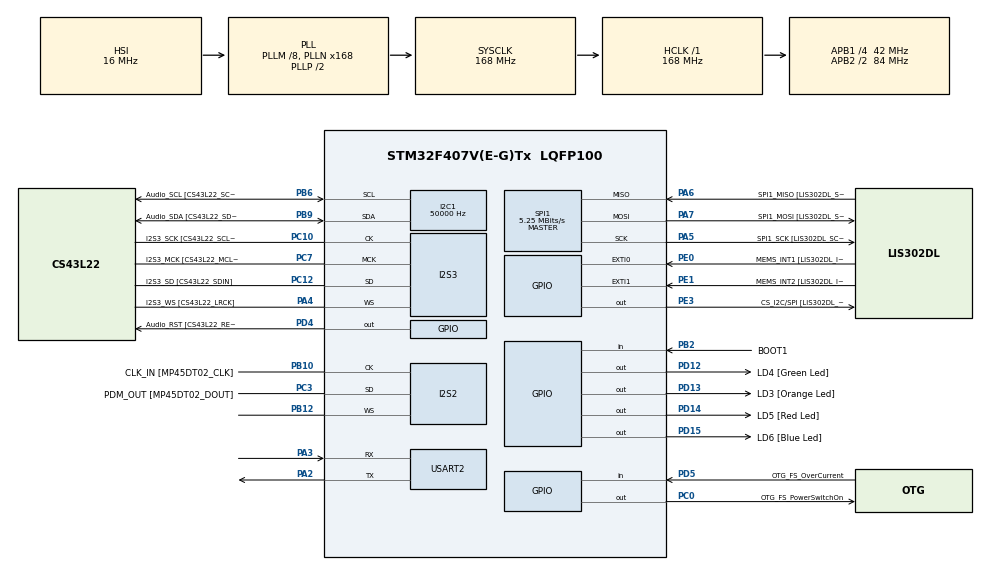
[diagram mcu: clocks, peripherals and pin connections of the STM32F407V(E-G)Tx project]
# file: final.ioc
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I2C1.ClockSpeed=50000
I2S2.AudioFreq=I2S_AUDIOFREQ_44K
I2S2.ErrorAudioFreq=0.8 %
I2S2.Mode=I2S_MODE_MASTER_RX
I2S2.RealAudioFreq=44.354 KHz
I2S2.Standard=I2S_STANDARD_PHILIPS
I2S3.AudioFreq=I2S_AUDIOFREQ_44K
I2S3.ErrorAudioFreq=-2.34 %
I2S3.RealAudioFreq=42.968 KHz
Mcu.Family=STM32F4
Mcu.Name=STM32F407V(E-G)Tx
Mcu.Package=LQFP100
NVIC.PriorityGroup=NVIC_PRIORITYGROUP_0
PA10.GPIO_Label=OTG_FS_ID
PA10.GPIO_Mode=GPIO_MODE_AF_PP
PA10.GPIO_PuPd=GPIO_NOPULL
PA10.GPIO_Speed=GPIO_SPEED_FREQ_LOW
PA10.Signal=USB_OTG_FS_ID
PA11.GPIO_Label=OTG_FS_DM
PA11.GPIO_Mode=GPIO_MODE_AF_PP
PA11.GPIO_PuPd=GPIO_NOPULL
PA11.GPIO_Speed=GPIO_SPEED_FREQ_LOW
PA11.Signal=USB_OTG_FS_DM
PA12.GPIO_Label=OTG_FS_DP
PA12.GPIO_Mode=GPIO_MODE_AF_PP
PA12.GPIO_PuPd=GPIO_NOPULL
PA12.GPIO_Speed=GPIO_SPEED_FREQ_LOW
PA12.Signal=USB_OTG_FS_DP
PA13.GPIO_Label=SWDIO
PA13.Signal=SYS_JTMS-SWDIO
PA14.GPIO_Label=SWCLK
PA14.Signal=SYS_JTCK-SWCLK
PA2.Mode=Asynchronous
PA2.Signal=USART2_TX
PA3.Mode=Asynchronous
PA3.Signal=USART2_RX
PA4.GPIO_Label=I2S3_WS [CS43L22_LRCK]
PA4.GPIO_Mode=GPIO_MODE_AF_PP
PA4.GPIO_PuPd=GPIO_NOPULL
PA4.GPIO_Speed=GPIO_SPEED_FREQ_LOW
PA4.Mode=Half_Duplex_Master
PA4.Signal=I2S3_WS
PA5.GPIO_Label=SPI1_SCK [LIS302DL_SCL/SPC]
PA5.GPIO_Mode=GPIO_MODE_AF_PP
PA5.GPIO_PuPd=GPIO_NOPULL
PA5.GPIO_Speed=GPIO_SPEED_FREQ_LOW
PA5.Mode=Full_Duplex_Master
PA5.Signal=SPI1_SCK
PA6.GPIO_Label=SPI1_MISO [LIS302DL_SDO]
PA6.GPIO_Mode=GPIO_MODE_AF_PP
PA6.GPIO_PuPd=GPIO_NOPULL
PA6.GPIO_Speed=GPIO_SPEED_FREQ_LOW
PA6.Mode=Full_Duplex_Master
PA6.Signal=SPI1_MISO
PA7.GPIO_Label=SPI1_MOSI [LIS302DL_SDA/SDI/SDO]
PA7.GPIO_Mode=GPIO_MODE_AF_PP
PA7.GPIO_PuPd=GPIO_NOPULL
PA7.GPIO_Speed=GPIO_SPEED_FREQ_LOW
PA7.Mode=Full_Duplex_Master
PA7.Signal=SPI1_MOSI
PA9.GPIO_Label=VBUS_FS
PA9.GPIO_Mode=GPIO_MODE_INPUT
PA9.GPIO_PuPd=GPIO_NOPULL
PA9.Signal=USB_OTG_FS_VBUS
PB10.GPIO_Label=CLK_IN [MP45DT02_CLK]
PB10.GPIO_Mode=GPIO_MODE_AF_PP
PB10.GPIO_PuPd=GPIO_NOPULL
PB10.GPIO_Speed=GPIO_SPEED_FREQ_LOW
PB10.Mode=Half_Duplex_Master
PB10.Signal=I2S2_CK
PB12.Mode=Half_Duplex_Master
PB12.Signal=I2S2_WS
PB2.GPIO_Label=BOOT1
PB2.GPIO_Mode=GPIO_MODE_INPUT
PB2.GPIO_PuPd=GPIO_NOPULL
PB2.Signal=GPIO_Input
PB3.GPIO_Label=SWO
PB3.Signal=SYS_JTDO-SWO
PB6.GPIO_Label=Audio_SCL [CS43L22_SCL]
PB6.GPIO_Mode=GPIO_MODE_AF_OD
PB6.GPIO_PuPd=GPIO_NOPULL
PB6.GPIO_Speed=GPIO_SPEED_FREQ_LOW
PB6.Mode=I2C
PB6.Signal=I2C1_SCL
PB9.GPIO_Label=Audio_SDA [CS43L22_SDA]
PB9.GPIO_Mode=GPIO_MODE_AF_OD
PB9.GPIO_PuPd=GPIO_NOPULL
PB9.GPIO_Speed=GPIO_SPEED_FREQ_LOW
PB9.Mode=I2C
PB9.Signal=I2C1_SDA
PC0.GPIO_Label=OTG_FS_PowerSwitchOn
PC0.GPIO_PuPd=GPIO_NOPULL
PC0.GPIO_Speed=GPIO_SPEED_FREQ_LOW
PC0.PinState=GPIO_PIN_SET
PC0.Signal=GPIO_Output
PC10.GPIO_Label=I2S3_SCK [CS43L22_SCLK]
PC10.GPIO_Mode=GPIO_MODE_AF_PP
PC10.GPIO_PuPd=GPIO_NOPULL
PC10.GPIO_Speed=GPIO_SPEED_FREQ_LOW
PC10.Mode=Half_Duplex_Master
PC10.Signal=I2S3_CK
PC12.GPIO_Label=I2S3_SD [CS43L22_SDIN]
PC12.GPIO_Mode=GPIO_MODE_AF_PP
PC12.GPIO_PuPd=GPIO_NOPULL
PC12.GPIO_Speed=GPIO_SPEED_FREQ_LOW
PC12.Mode=Half_Duplex_Master
PC12.Signal=I2S3_SD
PC14-OSC32_IN.GPIO_Label=PC14-OSC32_IN
PC14-OSC32_IN.Signal=RCC_OSC32_IN
PC15-OSC32_OUT.GPIO_Label=PC15-OSC32_OUT
PC15-OSC32_OUT.Signal=RCC_OSC32_OUT
PC3.GPIO_Label=PDM_OUT [MP45DT02_DOUT]
PC3.GPIO_Mode=GPIO_MODE_AF_PP
PC3.GPIO_PuPd=GPIO_NOPULL
PC3.GPIO_Speed=GPIO_SPEED_FREQ_LOW
PC3.Mode=Half_Duplex_Master
PC3.Signal=I2S2_SD
PC7.GPIO_Label=I2S3_MCK [CS43L22_MCLK]
PC7.GPIO_Mode=GPIO_MODE_AF_PP
PC7.GPIO_PuPd=GPIO_NOPULL
PC7.GPIO_Speed=GPIO_SPEED_FREQ_LOW
PC7.Mode=Master_Clock_Activated
PC7.Signal=I2S3_MCK
PD12.GPIO_Label=LD4 [Green Led]
PD12.GPIO_PuPd=GPIO_NOPULL
PD12.GPIO_Speed=GPIO_SPEED_FREQ_LOW
PD12.Signal=GPIO_Output
PD13.GPIO_Label=LD3 [Orange Led]
PD13.GPIO_PuPd=GPIO_NOPULL
PD13.GPIO_Speed=GPIO_SPEED_FREQ_LOW
PD13.Signal=GPIO_Output
PD14.GPIO_Label=LD5 [Red Led]
PD14.GPIO_PuPd=GPIO_NOPULL
PD14.GPIO_Speed=GPIO_SPEED_FREQ_LOW
PD14.Signal=GPIO_Output
PD15.GPIO_Label=LD6 [Blue Led]
PD15.GPIO_PuPd=GPIO_NOPULL
PD15.GPIO_Speed=GPIO_SPEED_FREQ_LOW
PD15.Signal=GPIO_Output
PD4.GPIO_Label=Audio_RST [CS43L22_RESET]
PD4.GPIO_PuPd=GPIO_NOPULL
PD4.GPIO_Speed=GPIO_SPEED_FREQ_LOW
PD4.Signal=GPIO_Output
PD5.GPIO_Label=OTG_FS_OverCurrent
PD5.GPIO_Mode=GPIO_MODE_INPUT
PD5.GPIO_PuPd=GPIO_NOPULL
PD5.Signal=GPIO_Input
PE0.GPIO_Label=MEMS_INT1 [LIS302DL_INT1]
PE0.Signal=GPXTI0
PE1.GPIO_Label=MEMS_INT2 [LIS302DL_INT2]
PE1.GPIO_ModeDefaultEXTI=GPIO_MODE_EVT_RISING
PE1.GPIO_PuPd=GPIO_NOPULL
PE1.Signal=GPXTI1
PE3.GPIO_Label=CS_I2C/SPI [LIS302DL_CS_I2C/SPI]
PE3.GPIO_PuPd=GPIO_NOPULL
PE3.GPIO_Speed=GPIO_SPEED_FREQ_LOW
PE3.Signal=GPIO_Output
PH0-OSC_IN.GPIO_Label=PH0-OSC_IN
PH0-OSC_IN.Signal=RCC_OSC_IN
PH1-OSC_OUT.GPIO_Label=PH1-OSC_OUT
PH1-OSC_OUT.Signal=RCC_OSC_OUT
ProjectManager.HeapSize=0x200
ProjectManager.StackSize=0x400
ProjectManager.TargetToolchain=SW4STM32
RCC.48MHZClocksFreq_Value=48000000
RCC.AHBFreq_Value=168000000
RCC.APB1CLKDivider=RCC_HCLK_DIV4
RCC.APB1Freq_Value=42000000
RCC.APB1TimFreq_Value=84000000
RCC.APB2CLKDivider=RCC_HCLK_DIV2
RCC.APB2Freq_Value=84000000
RCC.APB2TimFreq_Value=168000000
RCC.CortexFreq_Value=168000000
RCC.HCLKFreq_Value=168000000
RCC.HSE_VALUE=8000000
RCC.HSI_VALUE=16000000
RCC.LSE_VALUE=32768
RCC.PLLI2SN=88
RCC.PLLI2SR=4
RCC.PLLM=8
RCC.PLLN=168
RCC.PLLQ=7
RCC.SYSCLKFreq_VALUE=168000000
RCC.SYSCLKSource=RCC_SYSCLKSOURCE_PLLCLK
RCC.VCOOutputFreq_Value=336000000
SPI1.BaudRatePrescaler=SPI_BAUDRATEPRESCALER_16
SPI1.CalculateBaudRate=5.25 MBits/s
SPI1.Mode=SPI_MODE_MASTER
TIM1.Period=99
TIM1.Prescaler=1680
VP_TIM1_VS_ClockSourceINT.Mode=Internal
board=STM32F407G-DISC1

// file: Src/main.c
/**
  ******************************************************************************
  * File Name          : main.c
  * Description        : Main program body
  ******************************************************************************
  *
  * COPYRIGHT(c) 2016 STMicroelectronics
  *
  * Redistribution and use in source and binary forms, with or without modification,
  * are permitted provided that the following conditions are met:
  *   1. Redistributions of source code must retain the above copyright notice,
  *      this list of conditions and the following disclaimer.
  *   2. Redistributions in binary form must reproduce the above copyright notice,
  *      this list of conditions and the following disclaimer in the documentation
  *      and/or other materials provided with the distribution.
  *   3. Neither the name of STMicroelectronics nor the names of its contributors
  *      may be used to endorse or promote products derived from this software
  *      without specific prior written permission.
  *
  * THIS SOFTWARE IS PROVIDED BY THE COPYRIGHT HOLDERS AND CONTRIBUTORS "AS IS"
  * AND ANY EXPRESS OR IMPLIED WARRANTIES, INCLUDING, BUT NOT LIMITED TO, THE
  * IMPLIED WARRANTIES OF MERCHANTABILITY AND FITNESS FOR A PARTICULAR PURPOSE ARE
  * DISCLAIMED. IN NO EVENT SHALL THE COPYRIGHT HOLDER OR CONTRIBUTORS BE LIABLE
  * FOR ANY DIRECT, INDIRECT, INCIDENTAL, SPECIAL, EXEMPLARY, OR CONSEQUENTIAL
  * DAMAGES (INCLUDING, BUT NOT LIMITED TO, PROCUREMENT OF SUBSTITUTE GOODS OR
  * SERVICES; LOSS OF USE, DATA, OR PROFITS; OR BUSINESS INTERRUPTION) HOWEVER
  * CAUSED AND ON ANY THEORY OF LIABILITY, WHETHER IN CONTRACT, STRICT LIABILITY,
  * OR TORT (INCLUDING NEGLIGENCE OR OTHERWISE) ARISING IN ANY WAY OUT OF THE USE
  * OF THIS SOFTWARE, EVEN IF ADVISED OF THE POSSIBILITY OF SUCH DAMAGE.
  *
  ******************************************************************************
  */
#include "main.h"
#include "stm32f4xx_hal.h"

I2C_HandleTypeDef hi2c1;

I2S_HandleTypeDef hi2s2;
I2S_HandleTypeDef hi2s3;

SPI_HandleTypeDef hspi1;

TIM_HandleTypeDef htim1;

UART_HandleTypeDef huart2;

/* USER CODE BEGIN PV */
/* Private variables ---------------------------------------------------------*/

/* USER CODE END PV */

void SystemClock_Config(void);
void Error_Handler(void);
static void MX_GPIO_Init(void);
static void MX_I2C1_Init(void);
static void MX_I2S2_Init(void);
static void MX_I2S3_Init(void);
static void MX_SPI1_Init(void);
static void MX_TIM1_Init(void);
static void MX_USART2_UART_Init(void);

/* USER CODE BEGIN PFP */
/* Private function prototypes -----------------------------------------------*/
#define PDM_BUFFER_SIZE 16
/* USER CODE END PFP */

/* USER CODE BEGIN 0 */

void Sound_Random();
uint8_t Accelerometer_Get_Direction();

// ###################
// #                 #
// #   Game Logic    #
// #                 #
// ###################

uint8_t BEFORE_INIT = 0;
uint8_t INIT = 1;
uint8_t WAITING = 2;
uint8_t PLAY_INTRODUCE = 3;
uint8_t PLAY = 4;
uint8_t DIE = 5;

uint8_t LEFT = 0;
uint8_t RIGHT = 1;
uint8_t UP = 2;
uint8_t DOWN = 3;

uint8_t DISPLAY_INIT = 0;
uint8_t DISPLAY_WAITING = 1;
uint8_t DISPLAY_DIE = 6;
uint8_t DISPLAY_YOUR_TURN = 7;
uint8_t DISPLAY_GREAT = 8;

uint16_t i, j, k;
uint8_t gState = 0;

uint8_t gStartMsg[9][18] = {
	"+--------------+\r\n",
	"|              |\r\n",
	"|   Remember   |\r\n",
	"|     Game     |\r\n",
	"|              |\r\n",
	"|==============|\r\n",
	"|    Snap To   |\r\n",
	"|     Start    |\r\n",
	"+--------------+\r\n"
};

uint8_t gWaitMsg[9][18] = {
	"+--------------+\r\n",
	"|              |\r\n",
	"|  > Remember  |\r\n",
	"|  The Light   |\r\n",
	"|  > Rotate    |\r\n",
	"| To Following |\r\n",
	"|    Light     |\r\n",
	"|              |\r\n",
	"+--------------+\r\n"
};

uint8_t gDieMsg[9][18] = {
	"+--------------+\r\n",
	"|              |\r\n",
	"|      You     |\r\n",
	"|     Lose     |\r\n",
	"|==============|\r\n",
	"|    Snap To   |\r\n",
	"|    Restart   |\r\n",
	"+--------------+\r\n"
};

uint8_t gYourTurnMsg[9][18] = {
	"+--------------+\r\n",
	"|              |\r\n",
	"|    ++++++    |\r\n",
	"|     Your     |\r\n",
	"|     Turn     |\r\n",
	"|    ++++++    |\r\n",
	"|              |\r\n",
	"|              |\r\n",
	"+--------------+\r\n"
};

uint8_t gGreatMsg[9][18] = {
	"+--------------+\r\n",
	"|              |\r\n",
	"|    ++++++    |\r\n",
	"|    Great     |\r\n",
	"|  Keep Going  |\r\n",
	"|    ++++++    |\r\n",
	"|              |\r\n",
	"|              |\r\n",
	"+--------------+\r\n"
};

uint32_t gPrevTime;
uint32_t gCurTime;

uint8_t gArrows[100];
uint32_t gArrowLength;

uint32_t random() {
	return HAL_GetTick();
}

void Game_Display(uint8_t type) {
	uint8_t *S = gStartMsg;

	if(type == DISPLAY_INIT) S = gStartMsg;
	else if(type == DISPLAY_WAITING) S = gWaitMsg;
	else if(type == DISPLAY_DIE) S = gDieMsg;
	else if(type == DISPLAY_YOUR_TURN) S = gYourTurnMsg;
	else if(type == DISPLAY_GREAT) S = gGreatMsg;

	if(type == DISPLAY_DIE) {
		uint8_t buffer[20];
		sprintf(buffer, "You scores : %d\r\n", gArrowLength - 1);
		HAL_UART_Transmit(&huart2, S, 8 * 18, 100);
		HAL_UART_Transmit(&huart2, (uint8_t*)"\r\n", 2, 100);
		HAL_UART_Transmit(&huart2, buffer, strlen(buffer), 100);
	} else {
		HAL_UART_Transmit(&huart2, S, 9 * 18, 100);
		HAL_UART_Transmit(&huart2, (uint8_t*)"\r\n", 2, 100);
	}
}

uint32_t Game_Random() {
	return HAL_GetTick() / 10;
}

void Game_Init() {
	gArrowLength = 0;
}

void Game_Show_Light_Direction(uint8_t direction, uint16_t delay) {
	uint16_t pinNum = 0;

	switch(direction) {
	case 0 : pinNum = GPIO_PIN_12; break; // LEFT
	case 1 : pinNum = GPIO_PIN_14; break; // RIGHT
	case 2 : pinNum = GPIO_PIN_13; break; // UP
	case 3 : pinNum = GPIO_PIN_15; break; // DOWN
	}

	HAL_GPIO_WritePin(GPIOD, pinNum, GPIO_PIN_SET);
	HAL_Delay(delay);
	HAL_GPIO_WritePin(GPIOD, pinNum, GPIO_PIN_RESET);
}

void Game_Play_Introduce() {
	gArrows[gArrowLength] = Game_Random() % 4;
	gArrowLength++;

	for(i=0; i<gArrowLength; i++) {
		Sound_Random();
		Game_Show_Light_Direction(gArrows[i], 500);

		HAL_Delay(200);
	}
}

uint8_t Game_Check() {
	for(i=0;i <gArrowLength; i++) {
		while(1) {
			uint8_t userDir = Accelerometer_Get_Direction();
			if(userDir == 5) continue;
			Game_Show_Light_Direction(userDir, 500);
			if(userDir == gArrows[i]) {
				break;
			} else {
				return 0;
			}
		}
	}

	return 1;
}

// ###################
// #                 #
// #     Speaker     #
// #                 #
// ###################

uint16_t sTemp[100];
uint8_t sSendData[PDM_BUFFER_SIZE];

uint16_t pdm_buffer[PDM_BUFFER_SIZE];

int Transmit_Audio_Data(uint8_t address, uint8_t data) {
	sSendData[0] = address;
	sSendData[1] = data;
	return HAL_I2C_Master_Transmit(&hi2c1, 0x94, sSendData, 2, 50);
}

void Sound_Play(uint8_t chord) {

	if (chord == 0x00)
		return;

	Transmit_Audio_Data(0x1E, 0x20);
	Transmit_Audio_Data(0x1C, chord);
	Transmit_Audio_Data(0x1E, 0xE0);

	int i;
	for (i = 0; i < 100; i++)
		HAL_I2S_Transmit(&hi2s3, sTemp, 100, 10);
}

void Sound_Random() {
	switch(random() % 8) {
	case 0 : Sound_Play(0x1A); break;
	case 1 : Sound_Play(0x2A); break;
	case 2 : Sound_Play(0x3A); break;
	case 3 : Sound_Play(0x4A); break;
	case 4 : Sound_Play(0x5A); break;
	case 5 : Sound_Play(0x6A); break;
	case 6 : Sound_Play(0x7A); break;
	case 7 : Sound_Play(0x8A); break;
	}
}

void Audio_Init() {

	int i;
	for (i = 0; i < 100; i++)
		sTemp[i] = 0;

	HAL_GPIO_WritePin(GPIOD, GPIO_PIN_4, 0);
	HAL_Delay(500);
	HAL_GPIO_WritePin(GPIOD, GPIO_PIN_4, 1); //Reset is set Up (Power CS43L22)
	HAL_Delay(500);

	Transmit_Audio_Data(0x00, 0x99);
	Transmit_Audio_Data(0x47, 0x80);
	Transmit_Audio_Data(0x32, 0x80);
	Transmit_Audio_Data(0x32, 0x00);
	Transmit_Audio_Data(0x00, 0x00);
	Transmit_Audio_Data(0x1E, 0xC0);
	Transmit_Audio_Data(0x02, 0x9E);

	// Adjust Volume
	//Transmit_Audio_Data(0x1D, 0x0F);

}

// ###################
// #                 #
// #  Accelerometer  #
// #                 #
// ###################

void Accelerometer_Init() {
	uint8_t aAddress = 0x20;
	uint8_t aData = 0x67;

	HAL_GPIO_WritePin(GPIOE, GPIO_PIN_3, GPIO_PIN_RESET);
	HAL_SPI_Transmit(&hspi1, &aAddress, 1, 50);
	HAL_SPI_Transmit(&hspi1, &aData, 1, 50);
	HAL_GPIO_WritePin(GPIOE, GPIO_PIN_3, GPIO_PIN_SET);
}

uint8_t Accelerometer_Get_Direction() {
	uint8_t aX, aY, aZ;
	uint8_t aAddress;

	int rotateThreshold = 20;

	aAddress = 0x29 | 0x80;
	HAL_GPIO_WritePin(GPIOE,GPIO_PIN_3,GPIO_PIN_RESET);
	HAL_SPI_Transmit(&hspi1, &aAddress, 1, 50);
	HAL_SPI_Receive(&hspi1, &aX, 1, 50);
	HAL_GPIO_WritePin(GPIOE,GPIO_PIN_3,GPIO_PIN_SET);

	aAddress = 0x2B | 0x80;
	HAL_GPIO_WritePin(GPIOE,GPIO_PIN_3,GPIO_PIN_RESET);
	HAL_SPI_Transmit(&hspi1, &aAddress, 1, 50);
	HAL_SPI_Receive(&hspi1, &aY, 1, 50);
	HAL_GPIO_WritePin(GPIOE,GPIO_PIN_3,GPIO_PIN_SET);

	aAddress = 0x2C | 0x80;
	HAL_GPIO_WritePin(GPIOE,GPIO_PIN_3,GPIO_PIN_RESET);
	HAL_SPI_Transmit(&hspi1, &aAddress, 1, 50);
	HAL_SPI_Receive(&hspi1, &aZ, 1, 50);
	HAL_GPIO_WritePin(GPIOE,GPIO_PIN_3,GPIO_PIN_SET);

	if (aX < 255 - rotateThreshold && aX > 128) {
		// Left On
		return LEFT;
	} else if (aX <= 128 && aX > rotateThreshold) {
		// Right On
		return RIGHT;
	}

	if (aY > rotateThreshold && aY < 128) {
		// Up On
		return UP;
	} else if (aY >= 128 && aY < 255 - rotateThreshold) {
		// Down On
		return DOWN;
	}

	return 5;
}

// ###################
// #                 #
// #    Microphone   #
// #                 #
// ###################

int Is_Loud() {

	uint16_t bit_position;

	HAL_I2S_Receive(&hi2s2, pdm_buffer, PDM_BUFFER_SIZE, 100);

	uint16_t pdm_count = 0;

	int i, j;
	for (i = 0; i < PDM_BUFFER_SIZE; i++) {
		bit_position = (1 << 15);
		for (j = 0; j < 16; j++) {
			if (bit_position & pdm_buffer[i]) {
				pdm_count++;
			}
			bit_position >>= 1;
		}
	}

	if (pdm_count > 140) {
		return 1;
	} else {
		return 0;
	}
}
/* USER CODE END 0 */

int main(void)
{

  /* MCU Configuration----------------------------------------------------------*/

  /* Reset of all peripherals, Initializes the Flash interface and the Systick. */
  HAL_Init();

  /* Configure the system clock */
  SystemClock_Config();

  /* Initialize all configured peripherals */
  MX_GPIO_Init();
  MX_I2C1_Init();
  MX_I2S2_Init();
  MX_I2S3_Init();
  MX_SPI1_Init();
  MX_TIM1_Init();
  MX_USART2_UART_Init();

  /* USER CODE BEGIN 2 */
	Audio_Init();
	Accelerometer_Init();

	gPrevTime = HAL_GetTick();
	gState = BEFORE_INIT;

  /* USER CODE END 2 */

  /* Infinite loop */
	while (1) {

  /* USER CODE BEGIN 3 */

		if(gState == BEFORE_INIT) {
			if(Is_Loud()) {
				HAL_GPIO_WritePin(GPIOD, GPIO_PIN_12, GPIO_PIN_RESET);
				HAL_Delay(500);
				gState = INIT;
				Game_Display(DISPLAY_INIT);
			} else {
				HAL_GPIO_WritePin(GPIOD, GPIO_PIN_12, GPIO_PIN_SET);
			}
		} else if(gState == INIT) {
			gCurTime = HAL_GetTick();
			if(Is_Loud()) {
				gState = WAITING;
				gCurTime = 0;
				Game_Init();
				Game_Display(DISPLAY_WAITING);
			} else {
				if(gCurTime - gPrevTime > 500) {
					HAL_GPIO_TogglePin(GPIOD, GPIO_PIN_12);
					HAL_GPIO_TogglePin(GPIOD, GPIO_PIN_13);
					HAL_GPIO_TogglePin(GPIOD, GPIO_PIN_14);
					HAL_GPIO_TogglePin(GPIOD, GPIO_PIN_15);
					gPrevTime = gCurTime;
				}
				Sound_Random();
			}
		} else if(gState == WAITING) {
			HAL_GPIO_WritePin(GPIOD, GPIO_PIN_12, GPIO_PIN_RESET);
			HAL_GPIO_WritePin(GPIOD, GPIO_PIN_13, GPIO_PIN_RESET);
			HAL_GPIO_WritePin(GPIOD, GPIO_PIN_14, GPIO_PIN_RESET);
			HAL_GPIO_WritePin(GPIOD, GPIO_PIN_15, GPIO_PIN_RESET);
			for(i=0; i<2; i++) {
				for(j=0; j<4; j++) {
					HAL_GPIO_TogglePin(GPIOD, GPIO_PIN_12 << j);
					switch(j) {
					case 0 : Sound_Play(0x1A); break;
					case 1 : Sound_Play(0x2A); break;
					case 2 : Sound_Play(0x3A); break;
					case 3 : Sound_Play(0x4A); break;
					}
					HAL_Delay(20);
				}
			}
			HAL_GPIO_WritePin(GPIOD, GPIO_PIN_12, GPIO_PIN_RESET);
			HAL_GPIO_WritePin(GPIOD, GPIO_PIN_13, GPIO_PIN_RESET);
			HAL_GPIO_WritePin(GPIOD, GPIO_PIN_14, GPIO_PIN_RESET);
			HAL_GPIO_WritePin(GPIOD, GPIO_PIN_15, GPIO_PIN_RESET);
			HAL_Delay(750);
			gState = PLAY_INTRODUCE;
		} else if(gState == PLAY_INTRODUCE) {
			Game_Play_Introduce();
			gState = PLAY;
			Game_Display(DISPLAY_YOUR_TURN);
		} else if(gState == PLAY) {
			if(Game_Check()) {
				Game_Display(DISPLAY_GREAT);
				HAL_Delay(500);
				HAL_GPIO_WritePin(GPIOD, GPIO_PIN_12, GPIO_PIN_SET);
				HAL_GPIO_WritePin(GPIOD, GPIO_PIN_13, GPIO_PIN_SET);
				HAL_GPIO_WritePin(GPIOD, GPIO_PIN_14, GPIO_PIN_SET);
				HAL_GPIO_WritePin(GPIOD, GPIO_PIN_15, GPIO_PIN_SET);
				Sound_Play(0x3A);
				HAL_Delay(60);
				Sound_Play(0x4A);
				HAL_Delay(60);
				Sound_Play(0x5A);
				HAL_GPIO_WritePin(GPIOD, GPIO_PIN_12, GPIO_PIN_RESET);
				HAL_GPIO_WritePin(GPIOD, GPIO_PIN_13, GPIO_PIN_RESET);
				HAL_GPIO_WritePin(GPIOD, GPIO_PIN_14, GPIO_PIN_RESET);
				HAL_GPIO_WritePin(GPIOD, GPIO_PIN_15, GPIO_PIN_RESET);
				HAL_Delay(500);
				gState = PLAY_INTRODUCE;
			} else {
				Game_Display(DISPLAY_DIE);
				for(i=0; i<10; i++) {
					Sound_Play(0x5A);
				}
				HAL_Delay(200);
				gState = DIE;
			}

		} else if(gState == DIE) {
			if(Is_Loud()) {
				gState = WAITING;
				Game_Init();
				Game_Display(DISPLAY_WAITING);
			}
		}

	}
  /* USER CODE END 3 */

}

/** System Clock Configuration
*/
void SystemClock_Config(void)
{

  RCC_OscInitTypeDef RCC_OscInitStruct;
  RCC_ClkInitTypeDef RCC_ClkInitStruct;
  RCC_PeriphCLKInitTypeDef PeriphClkInitStruct;

    /**Configure the main internal regulator output voltage
    */
  __HAL_RCC_PWR_CLK_ENABLE();

  __HAL_PWR_VOLTAGESCALING_CONFIG(PWR_REGULATOR_VOLTAGE_SCALE1);

    /**Initializes the CPU, AHB and APB busses clocks
    */
  RCC_OscInitStruct.OscillatorType = RCC_OSCILLATORTYPE_HSI;
  RCC_OscInitStruct.HSIState = RCC_HSI_ON;
  RCC_OscInitStruct.HSICalibrationValue = 16;
  RCC_OscInitStruct.PLL.PLLState = RCC_PLL_ON;
  RCC_OscInitStruct.PLL.PLLSource = RCC_PLLSOURCE_HSI;
  RCC_OscInitStruct.PLL.PLLM = 8;
  RCC_OscInitStruct.PLL.PLLN = 168;
  RCC_OscInitStruct.PLL.PLLP = RCC_PLLP_DIV2;
  RCC_OscInitStruct.PLL.PLLQ = 7;
  if (HAL_RCC_OscConfig(&RCC_OscInitStruct) != HAL_OK)
  {
    Error_Handler();
  }

    /**Initializes the CPU, AHB and APB busses clocks
    */
  RCC_ClkInitStruct.ClockType = RCC_CLOCKTYPE_HCLK|RCC_CLOCKTYPE_SYSCLK
                              |RCC_CLOCKTYPE_PCLK1|RCC_CLOCKTYPE_PCLK2;
  RCC_ClkInitStruct.SYSCLKSource = RCC_SYSCLKSOURCE_PLLCLK;
  RCC_ClkInitStruct.AHBCLKDivider = RCC_SYSCLK_DIV1;
  RCC_ClkInitStruct.APB1CLKDivider = RCC_HCLK_DIV4;
  RCC_ClkInitStruct.APB2CLKDivider = RCC_HCLK_DIV2;

  if (HAL_RCC_ClockConfig(&RCC_ClkInitStruct, FLASH_LATENCY_5) != HAL_OK)
  {
    Error_Handler();
  }

  PeriphClkInitStruct.PeriphClockSelection = RCC_PERIPHCLK_I2S;
  PeriphClkInitStruct.PLLI2S.PLLI2SN = 88;
  PeriphClkInitStruct.PLLI2S.PLLI2SR = 4;
  if (HAL_RCCEx_PeriphCLKConfig(&PeriphClkInitStruct) != HAL_OK)
  {
    Error_Handler();
  }

    /**Configure the Systick interrupt time
    */
  HAL_SYSTICK_Config(HAL_RCC_GetHCLKFreq()/1000);

    /**Configure the Systick
    */
  HAL_SYSTICK_CLKSourceConfig(SYSTICK_CLKSOURCE_HCLK);

  /* SysTick_IRQn interrupt configuration */
  HAL_NVIC_SetPriority(SysTick_IRQn, 0, 0);
}

/* I2C1 init function */
static void MX_I2C1_Init(void)
{

  hi2c1.Instance = I2C1;
  hi2c1.Init.ClockSpeed = 50000;
  hi2c1.Init.DutyCycle = I2C_DUTYCYCLE_2;
  hi2c1.Init.OwnAddress1 = 0;
  hi2c1.Init.AddressingMode = I2C_ADDRESSINGMODE_7BIT;
  hi2c1.Init.DualAddressMode = I2C_DUALADDRESS_DISABLE;
  hi2c1.Init.OwnAddress2 = 0;
  hi2c1.Init.GeneralCallMode = I2C_GENERALCALL_DISABLE;
  hi2c1.Init.NoStretchMode = I2C_NOSTRETCH_DISABLE;
  if (HAL_I2C_Init(&hi2c1) != HAL_OK)
  {
    Error_Handler();
  }

}

/* I2S2 init function */
static void MX_I2S2_Init(void)
{

  hi2s2.Instance = SPI2;
  hi2s2.Init.Mode = I2S_MODE_MASTER_RX;
  hi2s2.Init.Standard = I2S_STANDARD_PHILIPS;
  hi2s2.Init.DataFormat = I2S_DATAFORMAT_16B;
  hi2s2.Init.MCLKOutput = I2S_MCLKOUTPUT_DISABLE;
  hi2s2.Init.AudioFreq = I2S_AUDIOFREQ_44K;
  hi2s2.Init.CPOL = I2S_CPOL_LOW;
  hi2s2.Init.ClockSource = I2S_CLOCK_PLL;
  hi2s2.Init.FullDuplexMode = I2S_FULLDUPLEXMODE_DISABLE;
  if (HAL_I2S_Init(&hi2s2) != HAL_OK)
  {
    Error_Handler();
  }

}

/* I2S3 init function */
static void MX_I2S3_Init(void)
{

  hi2s3.Instance = SPI3;
  hi2s3.Init.Mode = I2S_MODE_MASTER_TX;
  hi2s3.Init.Standard = I2S_STANDARD_PHILIPS;
  hi2s3.Init.DataFormat = I2S_DATAFORMAT_16B;
  hi2s3.Init.MCLKOutput = I2S_MCLKOUTPUT_ENABLE;
  hi2s3.Init.AudioFreq = I2S_AUDIOFREQ_44K;
  hi2s3.Init.CPOL = I2S_CPOL_LOW;
  hi2s3.Init.ClockSource = I2S_CLOCK_PLL;
  hi2s3.Init.FullDuplexMode = I2S_FULLDUPLEXMODE_DISABLE;
  if (HAL_I2S_Init(&hi2s3) != HAL_OK)
  {
    Error_Handler();
  }

}

/* SPI1 init function */
static void MX_SPI1_Init(void)
{

  hspi1.Instance = SPI1;
  hspi1.Init.Mode = SPI_MODE_MASTER;
  hspi1.Init.Direction = SPI_DIRECTION_2LINES;
  hspi1.Init.DataSize = SPI_DATASIZE_8BIT;
  hspi1.Init.CLKPolarity = SPI_POLARITY_LOW;
  hspi1.Init.CLKPhase = SPI_PHASE_1EDGE;
  hspi1.Init.NSS = SPI_NSS_SOFT;
  hspi1.Init.BaudRatePrescaler = SPI_BAUDRATEPRESCALER_16;
  hspi1.Init.FirstBit = SPI_FIRSTBIT_MSB;
  hspi1.Init.TIMode = SPI_TIMODE_DISABLE;
  hspi1.Init.CRCCalculation = SPI_CRCCALCULATION_DISABLE;
  hspi1.Init.CRCPolynomial = 10;
  if (HAL_SPI_Init(&hspi1) != HAL_OK)
  {
    Error_Handler();
  }

}

/* TIM1 init function */
static void MX_TIM1_Init(void)
{

  TIM_ClockConfigTypeDef sClockSourceConfig;
  TIM_MasterConfigTypeDef sMasterConfig;

  htim1.Instance = TIM1;
  htim1.Init.Prescaler = 1680;
  htim1.Init.CounterMode = TIM_COUNTERMODE_UP;
  htim1.Init.Period = 99;
  htim1.Init.ClockDivision = TIM_CLOCKDIVISION_DIV1;
  htim1.Init.RepetitionCounter = 0;
  if (HAL_TIM_Base_Init(&htim1) != HAL_OK)
  {
    Error_Handler();
  }

  sClockSourceConfig.ClockSource = TIM_CLOCKSOURCE_INTERNAL;
  if (HAL_TIM_ConfigClockSource(&htim1, &sClockSourceConfig) != HAL_OK)
  {
    Error_Handler();
  }

  sMasterConfig.MasterOutputTrigger = TIM_TRGO_RESET;
  sMasterConfig.MasterSlaveMode = TIM_MASTERSLAVEMODE_DISABLE;
  if (HAL_TIMEx_MasterConfigSynchronization(&htim1, &sMasterConfig) != HAL_OK)
  {
    Error_Handler();
  }

}

/* USART2 init function */
static void MX_USART2_UART_Init(void)
{

  huart2.Instance = USART2;
  huart2.Init.BaudRate = 115200;
  huart2.Init.WordLength = UART_WORDLENGTH_8B;
  huart2.Init.StopBits = UART_STOPBITS_1;
  huart2.Init.Parity = UART_PARITY_NONE;
  huart2.Init.Mode = UART_MODE_TX_RX;
  huart2.Init.HwFlowCtl = UART_HWCONTROL_NONE;
  huart2.Init.OverSampling = UART_OVERSAMPLING_16;
  if (HAL_UART_Init(&huart2) != HAL_OK)
  {
    Error_Handler();
  }

}

/** Configure pins as
        * Analog
        * Input
        * Output
        * EVENT_OUT
        * EXTI
     PA9   ------> USB_OTG_FS_VBUS
     PA10   ------> USB_OTG_FS_ID
     PA11   ------> USB_OTG_FS_DM
     PA12   ------> USB_OTG_FS_DP
*/
static void MX_GPIO_Init(void)
{

  GPIO_InitTypeDef GPIO_InitStruct;

  /* GPIO Ports Clock Enable */
  __HAL_RCC_GPIOE_CLK_ENABLE();
  __HAL_RCC_GPIOC_CLK_ENABLE();
  __HAL_RCC_GPIOH_CLK_ENABLE();
  __HAL_RCC_GPIOA_CLK_ENABLE();
  __HAL_RCC_GPIOB_CLK_ENABLE();
  __HAL_RCC_GPIOD_CLK_ENABLE();

  /*Configure GPIO pin Output Level */
  HAL_GPIO_WritePin(CS_I2C_SPI_GPIO_Port, CS_I2C_SPI_Pin, GPIO_PIN_RESET);

  /*Configure GPIO pin Output Level */
  HAL_GPIO_WritePin(OTG_FS_PowerSwitchOn_GPIO_Port, OTG_FS_PowerSwitchOn_Pin, GPIO_PIN_SET);

  /*Configure GPIO pin Output Level */
  HAL_GPIO_WritePin(GPIOD, LD4_Pin|LD3_Pin|LD5_Pin|LD6_Pin
                          |Audio_RST_Pin, GPIO_PIN_RESET);

  /*Configure GPIO pin : CS_I2C_SPI_Pin */
  GPIO_InitStruct.Pin = CS_I2C_SPI_Pin;
  GPIO_InitStruct.Mode = GPIO_MODE_OUTPUT_PP;
  GPIO_InitStruct.Pull = GPIO_NOPULL;
  GPIO_InitStruct.Speed = GPIO_SPEED_FREQ_LOW;
  HAL_GPIO_Init(CS_I2C_SPI_GPIO_Port, &GPIO_InitStruct);

  /*Configure GPIO pin : OTG_FS_PowerSwitchOn_Pin */
  GPIO_InitStruct.Pin = OTG_FS_PowerSwitchOn_Pin;
  GPIO_InitStruct.Mode = GPIO_MODE_OUTPUT_PP;
  GPIO_InitStruct.Pull = GPIO_NOPULL;
  GPIO_InitStruct.Speed = GPIO_SPEED_FREQ_LOW;
  HAL_GPIO_Init(OTG_FS_PowerSwitchOn_GPIO_Port, &GPIO_InitStruct);

  /*Configure GPIO pin : BOOT1_Pin */
  GPIO_InitStruct.Pin = BOOT1_Pin;
  GPIO_InitStruct.Mode = GPIO_MODE_INPUT;
  GPIO_InitStruct.Pull = GPIO_NOPULL;
  HAL_GPIO_Init(BOOT1_GPIO_Port, &GPIO_InitStruct);

  /*Configure GPIO pins : LD4_Pin LD3_Pin LD5_Pin LD6_Pin
                           Audio_RST_Pin */
  GPIO_InitStruct.Pin = LD4_Pin|LD3_Pin|LD5_Pin|LD6_Pin
                          |Audio_RST_Pin;
  GPIO_InitStruct.Mode = GPIO_MODE_OUTPUT_PP;
  GPIO_InitStruct.Pull = GPIO_NOPULL;
  GPIO_InitStruct.Speed = GPIO_SPEED_FREQ_LOW;
  HAL_GPIO_Init(GPIOD, &GPIO_InitStruct);

  /*Configure GPIO pin : VBUS_FS_Pin */
  GPIO_InitStruct.Pin = VBUS_FS_Pin;
  GPIO_InitStruct.Mode = GPIO_MODE_INPUT;
  GPIO_InitStruct.Pull = GPIO_NOPULL;
  HAL_GPIO_Init(VBUS_FS_GPIO_Port, &GPIO_InitStruct);

  /*Configure GPIO pins : OTG_FS_ID_Pin OTG_FS_DM_Pin OTG_FS_DP_Pin */
  GPIO_InitStruct.Pin = OTG_FS_ID_Pin|OTG_FS_DM_Pin|OTG_FS_DP_Pin;
  GPIO_InitStruct.Mode = GPIO_MODE_AF_PP;
  GPIO_InitStruct.Pull = GPIO_NOPULL;
  GPIO_InitStruct.Speed = GPIO_SPEED_FREQ_LOW;
  GPIO_InitStruct.Alternate = GPIO_AF10_OTG_FS;
  HAL_GPIO_Init(GPIOA, &GPIO_InitStruct);

  /*Configure GPIO pin : OTG_FS_OverCurrent_Pin */
  GPIO_InitStruct.Pin = OTG_FS_OverCurrent_Pin;
  GPIO_InitStruct.Mode = GPIO_MODE_INPUT;
  GPIO_InitStruct.Pull = GPIO_NOPULL;
  HAL_GPIO_Init(OTG_FS_OverCurrent_GPIO_Port, &GPIO_InitStruct);

  /*Configure GPIO pin : MEMS_INT1_Pin */
  GPIO_InitStruct.Pin = MEMS_INT1_Pin;
  GPIO_InitStruct.Mode = GPIO_MODE_IT_RISING;
  GPIO_InitStruct.Pull = GPIO_NOPULL;
  HAL_GPIO_Init(MEMS_INT1_GPIO_Port, &GPIO_InitStruct);

  /*Configure GPIO pin : MEMS_INT2_Pin */
  GPIO_InitStruct.Pin = MEMS_INT2_Pin;
  GPIO_InitStruct.Mode = GPIO_MODE_EVT_RISING;
  GPIO_InitStruct.Pull = GPIO_NOPULL;
  HAL_GPIO_Init(MEMS_INT2_GPIO_Port, &GPIO_InitStruct);

}

void Error_Handler(void)
{
	while (1) {
	}
}

/************************ (C) COPYRIGHT STMicroelectronics *****END OF FILE****/
